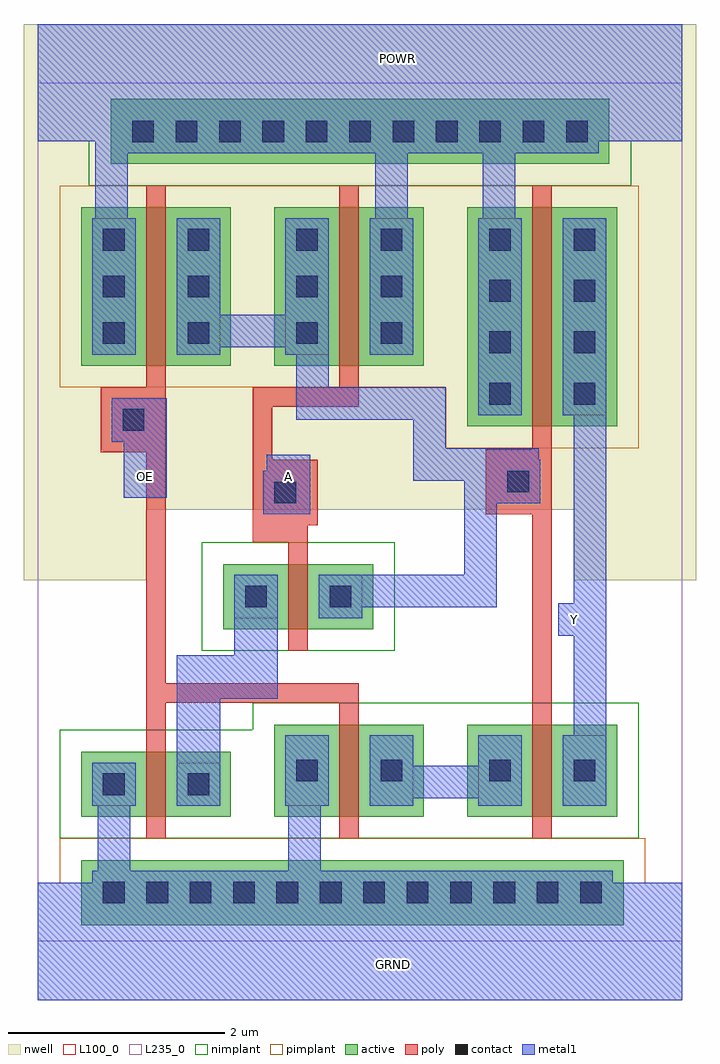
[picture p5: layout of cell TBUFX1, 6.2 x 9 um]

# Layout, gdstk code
import gdstk
lib = gdstk.Library(unit=1e-6, precision=1e-09)
def R(c, l, rs):  # rectangles x0, y0, x1, y1
    for r in rs: c.add(gdstk.rectangle(r[:2], r[2:], *l))
def A(c, l, x, y, w, h, nx, ny, dx, dy):  # array of equal rectangles
    R(c, l, [(x+i*dx, y+j*dy, x+i*dx+w, y+j*dy+h) for i in range(nx) for j in range(ny)])
def P(c, l, *ps):  # polygons
    for p in ps: c.add(gdstk.Polygon(p, *l))
active = (1, 0)
nwell = (2, 0)
poly = (3, 0)
nimplant = (4, 0)
pimplant = (5, 0)
contact = (6, 0)
metal1 = (7, 0)
L100_0 = (100, 0)
L235_0 = (235, 0)

tbufx1 = lib.new_cell('TBUFX1')
R(tbufx1, active, [(0.4,0.15,5.4,0.75), (0.4,1.15,1,1.75), (1,1.15,1.18,1.75), (1.18,1.15,1.78,1.75), (2.18,1.15,2.78,2), (2.78,1.15,2.96,2), (2.96,1.15,3.56,2), (3.96,1.15,4.56,2), (4.56,1.15,4.74,2), (4.74,1.15,5.34,2), (1.71,2.88,2.31,3.48), (2.31,2.88,2.49,3.48), (2.49,2.88,3.09,3.48), (3.96,4.75,4.56,6.77), (4.56,4.75,4.74,6.77), (4.74,4.75,5.34,6.77), (0.4,5.31,1,6.77), (1,5.31,1.18,6.77), (1.18,5.31,1.78,6.77), (2.18,5.31,2.78,6.77), (2.78,5.31,2.96,6.77), (2.96,5.31,3.56,6.77), (0.67,7.17,5.27,7.77)])
R(tbufx1, nwell, [(-0.13,3.33,1,3.98), (4.94,3.33,6.07,3.98), (-0.13,3.98,6.07,8.46), (3.46,4.25,5.84,7.27), (-0.1,4.81,2.28,7.27), (1.68,4.81,4.06,7.27)])
A(tbufx1, poly, 1, 0.95, 0.18, 0.2, 3, 2, 1.78, 5.82)
R(tbufx1, poly, [(1,0.95,1.18,1.95), (2.78,0.95,2.96,2.2), (4.56,0.95,4.74,2.2), (1,1.75,1.18,1.95), (2.78,2,2.96,2.2), (4.56,2,4.74,2.2), (2.31,2.68,2.49,3.68), (2.31,2.68,2.49,2.88), (2.31,3.48,2.49,3.68), (1.98,3.84,2.58,4.44), (4.13,3.94,4.73,4.54), (0.58,4.51,1.18,5.11), (4.56,4.55,4.74,4.75), (4.56,4.55,4.74,6.97), (1,5.11,1.18,5.31), (1,5.11,1.18,6.97), (2.78,5.11,2.96,5.31), (2.78,5.11,2.96,6.97)])
R(tbufx1, nimplant, [(0.2,0.95,1.98,1.95), (1.98,0.95,3.76,2.2), (3.76,0.95,5.54,2.2), (1.51,2.68,3.29,3.68)])
P(tbufx1, nimplant, [(5.94,8.46),(0,8.46),(0,7.38),(0.47,7.38),(0.47,6.97),(5.47,6.97),(5.47,7.38),(5.94,7.38)])
R(tbufx1, pimplant, [(3.76,4.55,5.54,6.97), (0.2,5.11,1.98,6.97), (1.98,5.11,3.76,6.97)])
P(tbufx1, pimplant, [(5.94,0.54),(5.6,0.54),(5.6,0.95),(0.2,0.95),(0.2,0.54),(0,0.54),(0,-0.54),(5.94,-0.54)])
A(tbufx1, contact, 0.6, 0.35, 0.2, 0.2, 12, 1, 0.4, 0)
A(tbufx1, contact, 4.16, 4.95, 0.2, 0.2, 1, 3, 0, 0.475)
A(tbufx1, contact, 4.94, 4.95, 0.2, 0.2, 1, 3, 0, 0.475)
A(tbufx1, contact, 0.6, 5.51, 0.2, 0.2, 1, 3, 0, 0.43)
A(tbufx1, contact, 1.38, 5.51, 0.2, 0.2, 1, 3, 0, 0.43)
A(tbufx1, contact, 2.38, 5.51, 0.2, 0.2, 1, 3, 0, 0.43)
A(tbufx1, contact, 3.16, 5.51, 0.2, 0.2, 1, 3, 0, 0.43)
A(tbufx1, contact, 0.87, 7.37, 0.2, 0.2, 11, 1, 0.4, 0)
R(tbufx1, contact, [(0.6,0.35,0.8,0.55), (0.6,1.35,0.8,1.55), (1.38,1.35,1.58,1.55), (2.38,1.475,2.58,1.675), (3.16,1.475,3.36,1.675), (4.16,1.475,4.36,1.675), (4.94,1.475,5.14,1.675), (1.91,3.08,2.11,3.28), (2.69,3.08,2.89,3.28), (2.18,4.04,2.38,4.24), (4.33,4.14,4.53,4.34), (0.78,4.71,0.98,4.91), (4.16,6.37,4.36,6.57), (4.94,6.37,5.14,6.57)])
R(tbufx1, metal1, [(0,-0.54,5.94,0.54), (0.5,0.25,5.3,0.65), (4.8,2.82,5.1,3.12), (2.08,3.94,2.48,4.34), (4.23,4.04,4.63,4.44), (0.84,4.14,1.14,4.44), (2.16,4.14,2.46,4.44), (0.68,4.61,1.08,5.01), (0.77,7.27,5.17,7.67), (0,7.38,5.94,8.46)])
R(tbufx1, L100_0, [(0.5,1.25,0.9,1.65), (1.28,1.25,1.68,1.65), (2.28,1.25,2.68,1.9), (3.06,1.25,3.46,1.9), (4.06,1.25,4.46,1.9), (4.84,1.25,5.24,1.9), (1.81,2.98,2.21,3.38), (2.59,2.98,2.99,3.38), (4.06,4.85,4.46,6.67), (4.84,4.85,5.24,6.67), (0.5,5.41,0.9,6.67), (1.28,5.41,1.68,6.67), (2.28,5.41,2.68,6.67), (3.06,5.41,3.46,6.67)])
R(tbufx1, L235_0, [(0,0,5.94,7.92)])
tbufx1.add(gdstk.FlexPath([(2.16,3.77),(2.49,3.77)], 0.18, ends="flush", simple_path=True, layer=3, datatype=0))  # poly
tbufx1.add(gdstk.FlexPath([(1.09,5.12),(1.09,1.95)], 0.18, ends="flush", simple_path=True, layer=3, datatype=0))  # poly
tbufx1.add(gdstk.FlexPath([(4.65,4.58),(4.65,2.15)], 0.18, ends="flush", simple_path=True, layer=3, datatype=0))  # poly
tbufx1.add(gdstk.FlexPath([(1,2.29),(2.96,2.29)], 0.18, ends="flush", simple_path=True, layer=3, datatype=0))  # poly
tbufx1.add(gdstk.FlexPath([(2.96,5.02),(2.07,5.02),(2.07,3.68)], 0.18, ends="flush", simple_path=True, layer=3, datatype=0))  # poly
tbufx1.add(gdstk.FlexPath([(0.7,1.25),(0.7,1.65)], 0.4, ends="flush", simple_path=True, layer=7, datatype=0))  # metal1
tbufx1.add(gdstk.FlexPath([(1.48,1.25),(1.48,1.65)], 0.4, ends="flush", simple_path=True, layer=7, datatype=0))  # metal1
tbufx1.add(gdstk.FlexPath([(3.43,1.47),(4.09,1.47)], 0.3, ends="flush", simple_path=True, layer=7, datatype=0))  # metal1
tbufx1.add(gdstk.FlexPath([(0.99,4.09),(0.99,5.01)], 0.4, ends="flush", simple_path=True, layer=7, datatype=0))  # metal1
tbufx1.add(gdstk.FlexPath([(4.25,6.62),(4.25,7.3)], 0.3, ends="flush", simple_path=True, layer=7, datatype=0))  # metal1
tbufx1.add(gdstk.FlexPath([(1.66,5.63),(2.35,5.63)], 0.3, ends="flush", simple_path=True, layer=7, datatype=0))  # metal1
tbufx1.add(gdstk.FlexPath([(2.53,5.42),(2.53,4.96),(3.61,4.96),(3.61,4.4),(4.62,4.4)], 0.3, ends="flush", simple_path=True, layer=7, datatype=0))  # metal1
tbufx1.add(gdstk.FlexPath([(2.31,4.49),(2.31,3.94)], 0.4, ends="flush", simple_path=True, layer=7, datatype=0))  # metal1
tbufx1.add(gdstk.FlexPath([(5.04,4.85),(5.04,6.67)], 0.4, ends="flush", simple_path=True, layer=7, datatype=0))  # metal1
tbufx1.add(gdstk.FlexPath([(4.26,4.85),(4.26,6.67)], 0.4, ends="flush", simple_path=True, layer=7, datatype=0))  # metal1
tbufx1.add(gdstk.FlexPath([(5.09,4.88),(5.09,1.88)], 0.3, ends="flush", simple_path=True, layer=7, datatype=0))  # metal1
tbufx1.add(gdstk.FlexPath([(1.48,1.62),(1.48,2.44),(2.01,2.44),(2.01,2.99)], 0.4, ends="flush", simple_path=True, layer=7, datatype=0))  # metal1
tbufx1.add(gdstk.FlexPath([(3.26,6.64),(3.26,7.33)], 0.3, ends="flush", simple_path=True, layer=7, datatype=0))  # metal1
tbufx1.add(gdstk.FlexPath([(0.68,6.62),(0.68,7.47)], 0.3, ends="flush", simple_path=True, layer=7, datatype=0))  # metal1
tbufx1.add(gdstk.FlexPath([(2.61,3.23),(4.08,3.23),(4.08,4.27)], 0.3, ends="flush", simple_path=True, layer=7, datatype=0))  # metal1
tbufx1.add(gdstk.FlexPath([(2.46,1.31),(2.46,0.6)], 0.3, ends="flush", simple_path=True, layer=7, datatype=0))  # metal1
tbufx1.add(gdstk.FlexPath([(0.7,1.28),(0.7,0.63)], 0.3, ends="flush", simple_path=True, layer=7, datatype=0))  # metal1
tbufx1.add(gdstk.FlexPath([(3.26,5.41),(3.26,6.67)], 0.4, ends="flush", simple_path=True, layer=7, datatype=0))  # metal1
tbufx1.add(gdstk.FlexPath([(2.48,5.41),(2.48,6.67)], 0.4, ends="flush", simple_path=True, layer=7, datatype=0))  # metal1
tbufx1.add(gdstk.FlexPath([(1.48,5.41),(1.48,6.67)], 0.4, ends="flush", simple_path=True, layer=7, datatype=0))  # metal1
tbufx1.add(gdstk.FlexPath([(0.7,5.41),(0.7,6.67)], 0.4, ends="flush", simple_path=True, layer=7, datatype=0))  # metal1
tbufx1.add(gdstk.FlexPath([(3.26,1.25),(3.26,1.9)], 0.4, ends="flush", simple_path=True, layer=7, datatype=0))  # metal1
tbufx1.add(gdstk.FlexPath([(2.48,1.25),(2.48,1.9)], 0.4, ends="flush", simple_path=True, layer=7, datatype=0))  # metal1
tbufx1.add(gdstk.FlexPath([(5.04,1.25),(5.04,1.9)], 0.4, ends="flush", simple_path=True, layer=7, datatype=0))  # metal1
tbufx1.add(gdstk.FlexPath([(4.26,1.25),(4.26,1.9)], 0.4, ends="flush", simple_path=True, layer=7, datatype=0))  # metal1
tbufx1.add(gdstk.FlexPath([(2.79,2.98),(2.79,3.38)], 0.4, ends="flush", simple_path=True, layer=7, datatype=0))  # metal1
tbufx1.add(gdstk.FlexPath([(2.01,2.98),(2.01,3.38)], 0.4, ends="flush", simple_path=True, layer=7, datatype=0))  # metal1
tbufx1.add(gdstk.Label('OE', (0.99,4.29), layer=230, texttype=0))
tbufx1.add(gdstk.Label('POWR', (3.32,8.14), layer=230, texttype=0))
tbufx1.add(gdstk.Label('A', (2.31,4.29), layer=230, texttype=0))
tbufx1.add(gdstk.Label('GRND', (3.28,-0.21), layer=230, texttype=0))
tbufx1.add(gdstk.Label('Y', (4.95,2.97), layer=230, texttype=0))

lib.write_gds('TBUFX1.gds')
